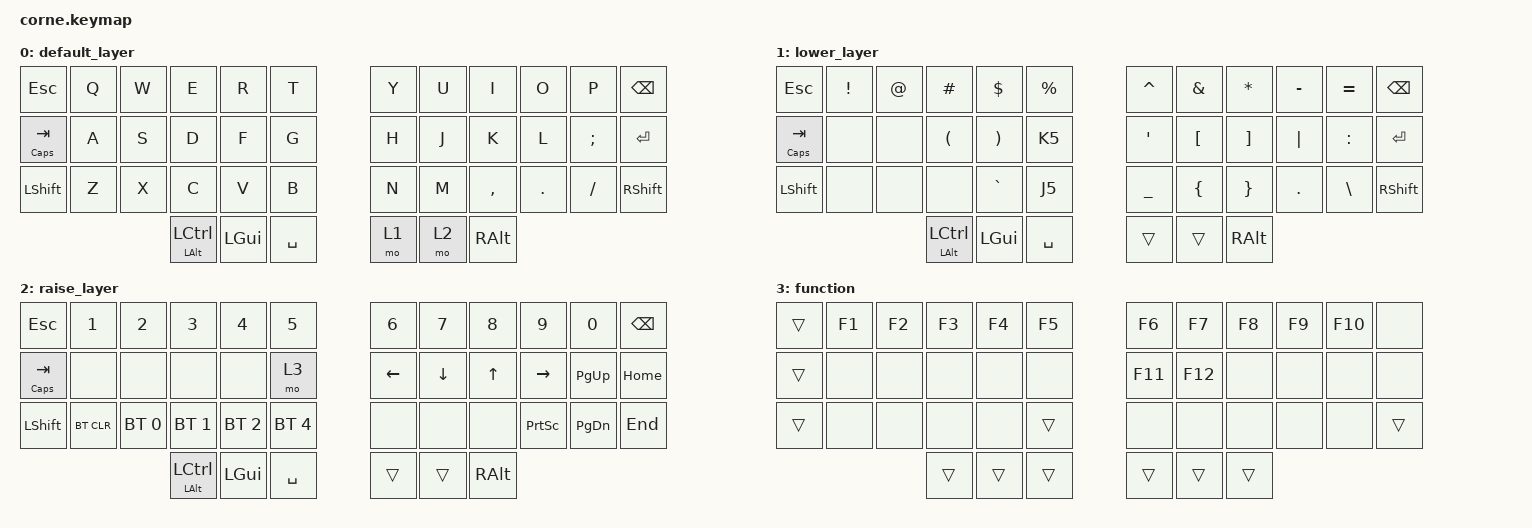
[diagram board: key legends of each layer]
/*
 * Copyright (c) 2020 The ZMK Contributors
 *
 * SPDX-License-Identifier: MIT
 */

#include <behaviors.dtsi>
#include <dt-bindings/zmk/bt.h>
#include <dt-bindings/zmk/keys.h>

/ {
    combos {
        compatible = "zmk,combos";

        doublequote {
            bindings = <&kp DOUBLE_QUOTES>;
            key-positions = <18 19>;
            layers = <1>;
        };
    };

    macros {
        J5: J5 {
            compatible = "zmk,behavior-macro";
            #binding-cells = <0>;
            bindings = <&kp N5 &kp J>;
            label = "J5";
        };

        K5: K5 {
            compatible = "zmk,behavior-macro";
            #binding-cells = <0>;
            bindings = <&kp N5 &kp K>;
            label = "K5";
        };
    };

    behaviors {
        hml: hml {
            compatible = "zmk,behavior-hold-tap";
            label = "HML";
            bindings = <&kp>, <&kp>;

            #binding-cells = <2>;
            flavor = "balanced";
            tapping-term-ms = <280>;
            quick-tap-ms = <175>;
            require-prior-idle-ms = <128>;
            hold-trigger-key-positions = <6 18 30 31 19 7 8 20 32 33 21 9 10 22 34 35 23 11 36 37 38 39 40 41>;
            hold-trigger-on-release;
        };

        hm_r: hm_r {
            compatible = "zmk,behavior-hold-tap";
            label = "HM_R";
            bindings = <&kp>, <&kp>;

            #binding-cells = <2>;
            flavor = "balanced";
            tapping-term-ms = <280>;
            quick-tap-ms = <175>;
            require-prior-idle-ms = <128>;
            hold-trigger-key-positions = <36 37 38 39 40 41 29 17 5 4 16 28 27 15 3 2 14 26 25 13 1 0 12 24>;
            hold-trigger-on-release;
        };

        hold_tap_150: hold_tap_150 {
            compatible = "zmk,behavior-hold-tap";
            label = "HOLD_TAP_150";
            bindings = <&kp>, <&kp>;

            #binding-cells = <2>;
            tapping-term-ms = <150>;
            quick-tap-ms = <150>;
            flavor = "balanced";
        };
    };

    keymap {
        compatible = "zmk,keymap";

        default_layer {
            // -----------------------------------------------------------------------------------------
            // |  TAB |  Q  |  W  |  E  |  R  |  T  |   |  Y  |  U   |  I  |  O  |  P  | BSPC |
            // | CTRL |  A  |  S  |  D  |  F  |  G  |   |  H  |  J   |  K  |  L  |  ;  |  '   |
            // | SHFT |  Z  |  X  |  C  |  V  |  B  |   |  N  |  M   |  ,  |  .  |  /  | ESC  |
            //                    | GUI | LWR | SPC |   | ENT | RSE  | ALT |

            bindings = <
&kp ESC                 &kp Q  &kp W  &kp E               &kp R         &kp T        &kp Y  &kp U  &kp I          &kp O    &kp P          &kp BSPC
&hold_tap_150 CAPS TAB  &kp A  &kp S  &kp D               &kp F         &kp G        &kp H  &kp J  &kp K          &kp L    &kp SEMICOLON  &kp ENTER
&kp LEFT_SHIFT          &kp Z  &kp X  &kp C               &kp V         &kp B        &kp N  &kp M  &kp COMMA      &kp DOT  &kp FSLH       &kp RIGHT_SHIFT
                                      &mt LEFT_ALT LCTRL  &kp LEFT_GUI  &kp SPACE    &mo 1  &mo 2  &kp RIGHT_ALT
            >;
        };

        lower_layer {
            // -----------------------------------------------------------------------------------------
            // |  TAB |  1  |  2  |  3  |  4  |  5  |   |  6  |  7  |  8  |  9  |  0  | BSPC |
            // | BTCLR| BT1 | BT2 | BT3 | BT4 | BT5 |   | LFT | DWN |  UP | RGT |     |      |
            // | SHFT |     |     |     |     |     |   |     |     |     |     |     |      |
            //                    | GUI |     | SPC |   | ENT |     | ALT |

            bindings = <
&kp ESC                 &kp EXCL  &kp AT_SIGN  &kp HASH              &kp DOLLAR             &kp PERCENT    &kp CARET         &kp AMPERSAND     &kp ASTERISK       &kp MINUS  &kp EQUAL      &kp BSPC
&hold_tap_150 CAPS TAB  &none     &none        &kp LEFT_PARENTHESIS  &kp RIGHT_PARENTHESIS  &K5            &kp SINGLE_QUOTE  &kp LEFT_BRACKET  &kp RIGHT_BRACKET  &kp PIPE   &kp COLON      &kp ENTER
&kp LEFT_SHIFT          &none     &none        &none                 &kp GRAVE              &J5            &kp UNDERSCORE    &kp LEFT_BRACE    &kp RIGHT_BRACE    &kp DOT    &kp BACKSLASH  &kp RIGHT_SHIFT
                                               &mt LEFT_ALT LCTRL    &kp LEFT_GUI           &kp SPACE      &trans            &trans            &kp RALT
            >;
        };

        raise_layer {
            // -----------------------------------------------------------------------------------------
            // |  TAB |  !  |  @  |  #  |  $  |  %  |   |  ^  |  &  |  *  |  (  |  )  | BSPC |
            // | CTRL |     |     |     |     |     |   |  -  |  =  |  [  |  ]  |  \  |  `   |
            // | SHFT |     |     |     |     |     |   |  _  |  +  |  {  |  }  | "|" |  ~   |
            //                    | GUI |     | SPC |   | ENT |     | ALT |

            bindings = <
&kp ESCAPE              &kp NUMBER_1  &kp NUMBER_2  &kp NUMBER_3        &kp NUMBER_4  &kp N5          &kp NUMBER_6    &kp N7          &kp N8         &kp N9           &kp N0         &kp BACKSPACE
&hold_tap_150 CAPS TAB  &none         &none         &none               &none         &mo 3           &kp LEFT_ARROW  &kp DOWN_ARROW  &kp UP_ARROW   &kp RIGHT_ARROW  &kp PAGE_UP    &kp HOME
&kp LEFT_SHIFT          &bt BT_CLR    &bt BT_SEL 0  &bt BT_SEL 1        &bt BT_SEL 2  &bt BT_SEL 4    &none           &none           &none          &kp PRINTSCREEN  &kp PAGE_DOWN  &kp END
                                                    &mt LEFT_ALT LCTRL  &kp LEFT_GUI  &kp SPACE       &trans          &trans          &kp RIGHT_ALT
            >;
        };

        function {
            bindings = <
&trans  &kp F1  &kp F2  &kp F3  &kp F4  &kp F5    &kp F6   &kp F7   &kp F8  &kp F9  &kp F10  &none
&trans  &none   &none   &none   &none   &none     &kp F11  &kp F12  &none   &none   &none    &none
&trans  &none   &none   &none   &none   &trans    &none    &none    &none   &none   &none    &trans
                        &trans  &trans  &trans    &trans   &trans   &trans
            >;
        };
    };
};
